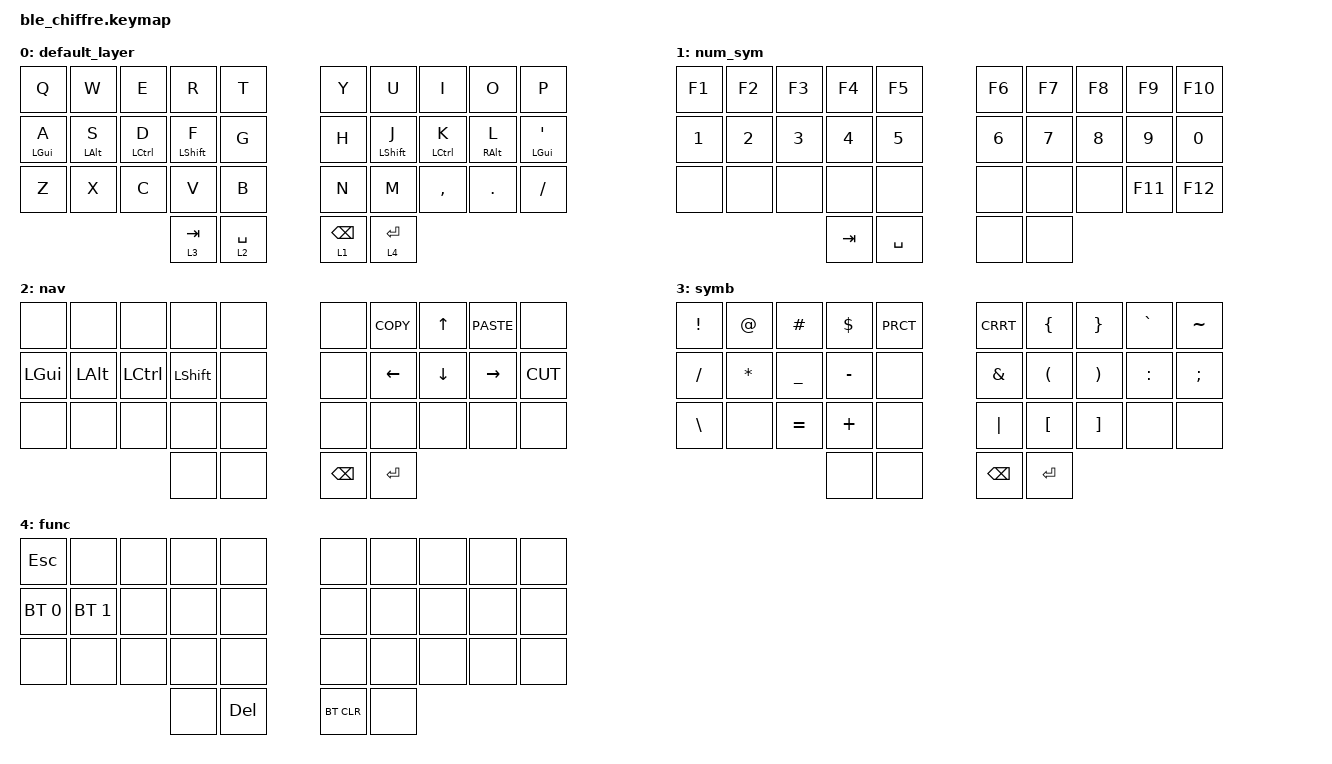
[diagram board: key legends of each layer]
/*
 * Copyright (c) 2020 The ZMK Contributors
 *
 * SPDX-License-Identifier: MIT
 */

#include <behaviors.dtsi>
#include <dt-bindings/zmk/keys.h>
#include <dt-bindings/zmk/bt.h>
#include <dt-bindings/zmk/rgb.h>

#define DEFAULT 0
#define NUM_SYM 1
#define NAV     2
#define SYMB	3
#define FUNC	4

/ {
	behaviors {
		rst: boot_reset 
		{
			compatible = "zmk,behavior-hold-tap";
			label = "Bootloader Tap - Reset Hold";
			#binding-cells = <2>;
			tapping_term_ms = <200>;
            flavor = "balanced";
			bindings = <&reset>, <&bootloader>;
        };

        bh: layer_taps 
		{
			compatible = "zmk,behavior-hold-tap";
			label = "Layer-Tap";
			#binding-cells = <2>;
			tapping_term_ms = <215>;
            flavor = "tap-preferred";
			bindings = <&mo>, <&kp>;
        };

        hm: homerow_mods0 
		{
			compatible = "zmk,behavior-hold-tap";
			label = "homerow mods";
			#binding-cells = <2>;
			tapping_term_ms = <170>;
            flavor = "tap-preferred";
			bindings = <&kp>, <&kp>;
        };
        
        hm1: homerow_mods1 
		{
			compatible = "zmk,behavior-hold-tap";
			label = "homerow mods";
			#binding-cells = <2>;
			tapping_term_ms = <205>;
            flavor = "tap-preferred";
			bindings = <&kp>, <&kp>;
        };

        hm2: homerow_mods2 
		{
			compatible = "zmk,behavior-hold-tap";
			label = "homerow mods 2";
			#binding-cells = <2>;
			tapping_term_ms = <250>;
            flavor = "tap-preferred";
			bindings = <&kp>, <&kp>;
        };

        com_col: comma_semicolon
		{
		 	compatible = "zmk,behavior-hold-tap";
	     	label = "Tap comma_hold colon";
			#binding-cells = <2>;
			tapping_term_ms = <150>;
            flavor = "balanced";
		 	bindings = <&kp>, <&kp>;
	    };
   	 };
};

/ {
	combos {
		compatible = "zmk,combos";
		combo_backspce {
			timeout-ms = <50>;
			key-positions = <8 9>;
			bindings = <&kp BSPC>;
		};
		combo_gesc 
		{
			timeout-ms = <30>;
			key-positions = <0 1>;
			bindings = <&com_col GRAVE ESC>;
		};
		combo_tab 
		{
			timeout-ms = <35>;
			key-positions = <11 12>;
			bindings = <&kp TAB>;
		};
		combo_mnxt 
		{
			timeout-ms = <30>;
			key-positions = <28 29>;
			bindings = <&kp C_NEXT>;
		};
		combo_mprev 
		{
			timeout-ms = <30>;
			key-positions = <27 28>;
			bindings = <&kp C_PREV>;	
		};
		combo_mpp 
		{
			timeout-ms = <30>;
			key-positions = <27 29>;
			bindings = <&kp C_PP>;
		};
		combo_del 
		{
			timeout-ms = <40>;
			key-positions = <7 8 9>;
			bindings = <&kp DEL>;
		};
	};
};

/ {
    keymap 
	{
    compatible = "zmk,keymap";

    default_layer {
            bindings = <
    &kp Q &kp W &kp E &kp R &kp T &kp Y &kp U &kp I &kp O &kp P
	&hm LGUI A &hm LALT S &hm LCTRL D &hm LSHFT F &kp G &kp H &hm LSHFT J &hm LCTRL K &hm RALT L &hm LGUI SQT
	&kp Z &kp X &kp C &kp V &kp B &kp N &kp M &kp COMMA &kp DOT &kp SLASH
	&lt 3 TAB &lt 2 SPACE &lt 1 BSPC &lt 4 RET
            >;
        };

    num_sym {
            bindings = <
    &kp F1 &kp F2 &kp F3 &kp F4 &kp F5 &kp F6 &kp F7 &kp F8 &kp F9 &kp F10
	&kp N1 &kp N2 &kp N3 &kp N4 &kp N5 &kp N6 &kp N7 &kp N8 &kp N9 &kp N0
	&none &none &none &none &none &none &none &none &kp F11 &kp F12
	&kp TAB &kp SPACE &none &none
            >;
        };

    nav {
            bindings = <
    &none &none &none &none &none &none &kp K_COPY &kp UP &kp K_PASTE &none
	&kp LGUI &kp LALT &kp LCTRL &kp LSHFT &none &none &kp LEFT &kp DOWN &kp RIGHT &kp K_CUT
	&none &none &none &none &none &none &none &none &none &none
	&none &none &kp BSPC &kp RET
            >;
        };

	symb {
            bindings = <
    &kp EXCL &kp AT &kp HASH &kp DLLR &kp PRCT &kp CRRT &kp LBRC &kp RBRC &kp GRAVE &kp TILDE
	&kp SLASH &kp ASTRK &kp UNDER &kp MINUS &none &kp AMPS &kp LPAR &kp RPAR &kp COLON &kp SEMICOLON
	&kp BSLH &none &kp EQUAL &kp PLUS &none &kp PIPE &kp LBKT &kp RBKT &none &none 
	&none &none &kp BSPC &kp RET
            >;
        };

	func {
            bindings = <
    &kp ESC &none &none &none &none &none &none &none &none &none
	&bt BT_SEL 0 &bt BT_SEL 1 &none &none &none &none &none &none &none &none
	&none &none &none &none &none &none &none &none &none &none
	&none &kp DEL &bt BT_CLR &none
            >;
        };
    };
};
